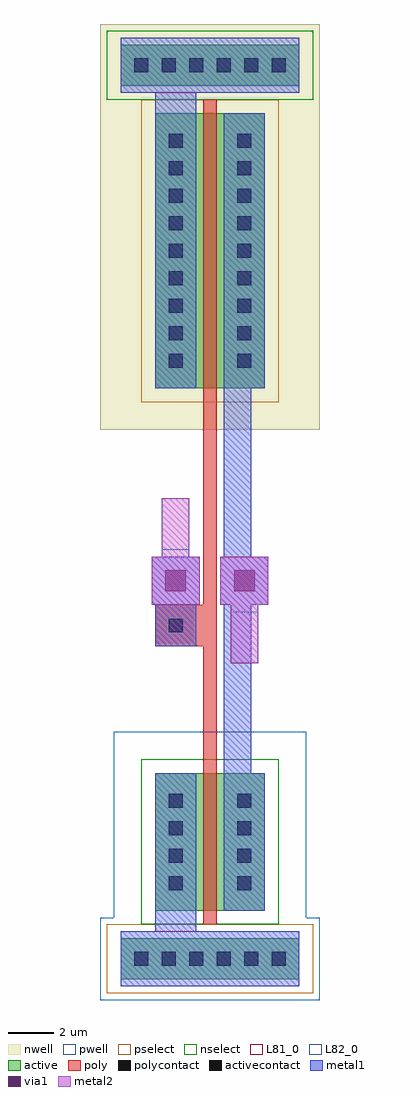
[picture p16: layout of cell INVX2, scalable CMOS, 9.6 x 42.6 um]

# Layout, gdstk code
import gdstk
lib = gdstk.Library(unit=1e-6, precision=1e-09)
def R(c, l, rs):  # rectangles x0, y0, x1, y1
    for r in rs: c.add(gdstk.rectangle(r[:2], r[2:], *l))
def A(c, l, x, y, w, h, nx, ny, dx, dy):  # array of equal rectangles
    R(c, l, [(x+i*dx, y+j*dy, x+i*dx+w, y+j*dy+h) for i in range(nx) for j in range(ny)])
pwell = (41, 0)
nwell = (42, 0)
active = (43, 0)
pselect = (44, 0)
nselect = (45, 0)
poly = (46, 0)
polycontact = (47, 0)
activecontact = (48, 0)
metal1 = (49, 0)
via1 = (50, 0)
metal2 = (51, 0)
L81_0 = (81, 0)
L82_0 = (82, 0)

invx2 = lib.new_cell('INVX2')
R(invx2, pwell, [(-1.8,-1.8,7.8,1.8), (-1.2,1.8,7.2,9.9)])
R(invx2, nwell, [(-1.8,23.1,7.8,40.8)])
R(invx2, active, [(-0.9,-0.9,6.9,0.9), (0.6,2.1,5.4,8.1), (0.6,24.9,5.4,36.9), (-0.9,38.1,6.9,39.9)])
R(invx2, pselect, [(-1.5,-1.5,7.5,1.5), (0,24.3,6,37.5)])
R(invx2, nselect, [(0,1.5,6,8.7), (-1.5,37.5,7.5,40.5)])
R(invx2, poly, [(2.7,1.5,3.3,13.65), (0.6,13.65,3.3,15.45), (2.7,15.45,3.3,37.5)])
R(invx2, polycontact, [(1.2,14.25,1.8,14.85)])
A(invx2, activecontact, -0.3, -0.3, 0.6, 0.6, 6, 2, 1.2, 39)
A(invx2, activecontact, 1.2, 3, 0.6, 0.6, 1, 4, 0, 1.2)
A(invx2, activecontact, 4.2, 3, 0.6, 0.6, 1, 4, 0, 1.2)
A(invx2, activecontact, 1.2, 25.8, 0.6, 0.6, 1, 9, 0, 1.2)
A(invx2, activecontact, 4.2, 25.8, 0.6, 0.6, 1, 9, 0, 1.2)
R(invx2, metal1, [(-0.9,-1.2,6.9,1.2), (0.6,1.2,2.4,8.1), (3.6,2.1,5.4,8.1), (3.6,8.1,4.8,15.45), (0.6,13.65,2.4,15.45), (0.45,15.45,2.55,17.55), (3.45,15.45,5.55,17.55), (3.6,17.55,4.8,24.9), (0.6,24.9,2.4,37.8), (3.6,24.9,5.4,36.9), (-0.9,37.8,6.9,40.2)])
R(invx2, via1, [(1.05,16.05,1.95,16.95), (4.05,16.05,4.95,16.95)])
R(invx2, metal2, [(3.9,12.9,5.1,15.45), (0.45,15.45,2.55,17.55), (3.45,15.45,5.55,17.55), (0.9,17.55,2.1,20.1)])
R(invx2, L81_0, [(-0.9,-1.2,6.9,1.2), (-0.9,37.8,6.9,40.2)])
R(invx2, L82_0, [(3.9,12.9,5.1,15.15), (0.9,17.85,2.1,20.1)])

lib.write_gds('INVX2.gds')
